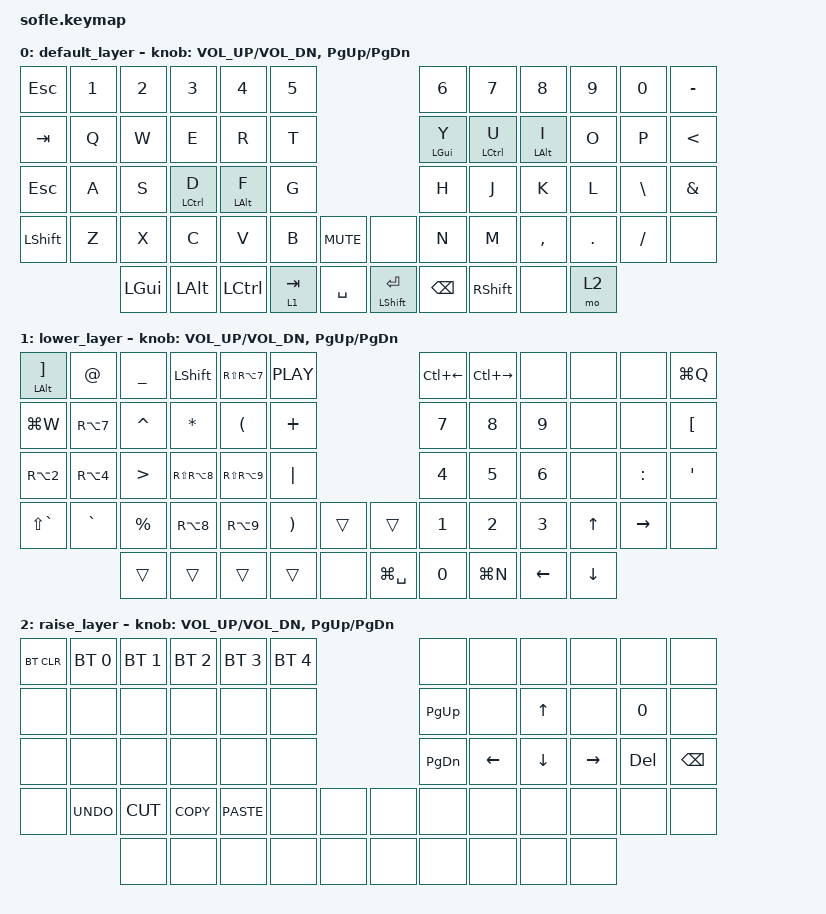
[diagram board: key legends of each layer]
/*
 * Copyright (c) 2020 The ZMK Contributors
 *
 * SPDX-License-Identifier: MIT
 */

#include <behaviors.dtsi>
#include <dt-bindings/zmk/bt.h>
#include <dt-bindings/zmk/keys.h>

&mt {
    tapping-term-ms = <250>;
    flavor = "tap-preferred";
};

&lt {
    flavor = "hold-preferred";
};

/ {
    combos {
        compatible = "zmk,combos";

        new_combo {
            bindings = <&trans>;
            key-positions = <>;
        };
    };

    macros {
        RSA: RSA {
            compatible = "zmk,behavior-macro";
            label = "RSA";
            #binding-cells = <0>;
            bindings =
                <&macro_press>,
                <&kp RIGHT_SHIFT &kp RIGHT_ALT &kp N7>,
                <&macro_release>;
        };
    };

    keymap {
        compatible = "zmk,keymap";

        default_layer {
            // ------------------------------------------------------------------------------------------------------------
            // |  `    |  1  |  2  |  3   |  4   |  5   |                   |  6   |  7    |  8    |  9   |   0   |       |
            // |  ESC  |  Q  |  W  |  E   |  R   |  T   |                   |  Y   |  U    |  I    |  O   |   P   | BKSPC |
            // |  TAB  |  A  |  S  |  D   |  F   |  G   |                   |  H   |  J    |  K    |  L   |   ;   |   '   |
            // | SHIFT |  Z  |  X  |  C   |  V   |  B   |  MUTE  |  |       |  N   |  M    |  ,    |  .   |   /   | SHIFT |
            //               | GUI | ALT  | CTRL | LOWER|  ENTER |  | SPACE | RAISE| CTRL  | ALT   | GUI  |

            bindings = <
&kp ESC    &kp N1  &kp N2    &kp N3       &kp N4          &kp N5                                       &kp NUMBER_6   &kp NUMBER_7        &kp N8      &kp N9   &kp N0         &kp MINUS
&kp TAB    &kp Q   &kp W     &kp E        &kp R           &kp T                                        &mt LGUI Y     &mt LEFT_CONTROL U  &mt LALT I  &kp O    &kp P          &kp LT
&kp ESC    &kp A   &kp S     &mt LCTRL D  &mt LEFT_ALT F  &kp G                                        &kp H          &kp J               &kp K       &kp L    &kp BACKSLASH  &kp AMPS
&kp LSHFT  &kp Z   &kp X     &kp C        &kp V           &kp B      &kp C_MUTE  &none                 &kp N          &kp M               &kp COMMA   &kp DOT  &kp FSLH       &none
                   &kp LGUI  &kp LALT     &kp LCTRL       &lt 1 TAB  &kp SPACE   &mt LEFT_SHIFT ENTER  &kp BACKSPACE  &kp RSHFT           &none       &mo 2
            >;

            sensor-bindings =
                <&inc_dec_kp C_VOL_UP C_VOL_DN>,
                <&inc_dec_kp PG_UP PG_DN>;
        };

        lower_layer {
            // TODO: Some binds are waiting for shifted keycode support.
            // ------------------------------------------------------------------------------------------------------------
            // |       |  F1 |  F2 |  F3  |  F4  |  F5  |                   |  F6  |  F7   |  F8   |  F9  |  F10  |  F11  |
            // | `     |   1 |   2 |   3  |   4  |   5  |                   |   6  |   7   |   8   |   9  |    0  |  F12  |
            // |       |  !  |  @  |  #   |  $   |  %   |                   |  ^   |  &    |  *    |  (   |   )   |   |   |
            // |       |  =  |  -  |  +   |  {   |  }   |        |  |       |  [   |  ]    |  ;    |  :   |   \   |       |
            //               |     |      |      |      |        |  |       |      |       |       |      |

            bindings = <
&mt LALT RIGHT_BRACKET  &kp AT            &kp UNDER    &kp LSHFT             &kp RS(RA(NUMBER_7))  &kp C_PLAY                                    &kp LC(LEFT)  &kp LC(RIGHT)  &none         &none     &none      &kp LG(Q)
&kp LG(W)               &kp RA(NUMBER_7)  &kp CARET    &kp ASTERISK          &kp LEFT_PARENTHESIS  &kp PLUS                                      &kp NUMBER_7  &kp NUMBER_8   &kp NUMBER_9  &none     &none      &kp LEFT_BRACKET
&kp RA(NUMBER_2)        &kp RA(NUMBER_4)  &kp GT       &kp RS(RA(NUMBER_8))  &kp RS(RA(NUMBER_9))  &kp PIPE                                      &kp NUMBER_4  &kp NUMBER_5   &kp NUMBER_6  &none     &kp COLON  &kp SINGLE_QUOTE
&kp LS(GRAVE)           &kp GRAVE         &kp PERCENT  &kp RA(NUMBER_8)      &kp RA(NUMBER_9)      &kp RIGHT_PARENTHESIS  &trans  &trans         &kp NUMBER_1  &kp NUMBER_2   &kp NUMBER_3  &kp UP    &kp RIGHT  &none
                                          &trans       &trans                &trans                &trans                 &none   &kp LG(SPACE)  &kp NUMBER_0  &kp LG(N)      &kp LEFT      &kp DOWN
            >;

            sensor-bindings = <&inc_dec_kp C_VOL_UP C_VOL_DN &inc_dec_kp PG_UP PG_DN>;
        };

        raise_layer {
            // ------------------------------------------------------------------------------------------------------------
            // |BTCLR| BT1  | BT2  |  BT3  |  BT4  |  BT5 |                |      |      |       |      |       |       |
            // |     | INS  | PSCR | GUI   |       |      |                | PGUP |      |   ^   |      |       |       |
            // |     | ALT  | CTRL | SHIFT |       | CAPS |                | PGDN |   <- |   v   |  ->  |  DEL  | BKSPC |
            // |     | UNDO | CUT  | COPY  | PASTE |      |      |  |      |      |      |       |      |       |       |
            //              |      |       |       |      |      |  |      |      |      |       |      |

            bindings = <
&bt BT_CLR  &bt BT_SEL 0  &bt BT_SEL 1  &bt BT_SEL 2  &bt BT_SEL 3  &bt BT_SEL 4                &none      &none     &none     &none      &none    &none
&none       &none         &none         &none         &none         &none                       &kp PG_UP  &none     &kp UP    &none      &kp N0   &none
&none       &none         &none         &none         &none         &none                       &kp PG_DN  &kp LEFT  &kp DOWN  &kp RIGHT  &kp DEL  &kp BSPC
&none       &kp K_UNDO    &kp K_CUT     &kp K_COPY    &kp K_PASTE   &none         &none  &none  &none      &none     &none     &none      &none    &none
                          &none         &none         &none         &none         &none  &none  &none      &none     &none     &none
            >;

            sensor-bindings = <&inc_dec_kp C_VOL_UP C_VOL_DN &inc_dec_kp PG_UP PG_DN>;
        };
    };
};
